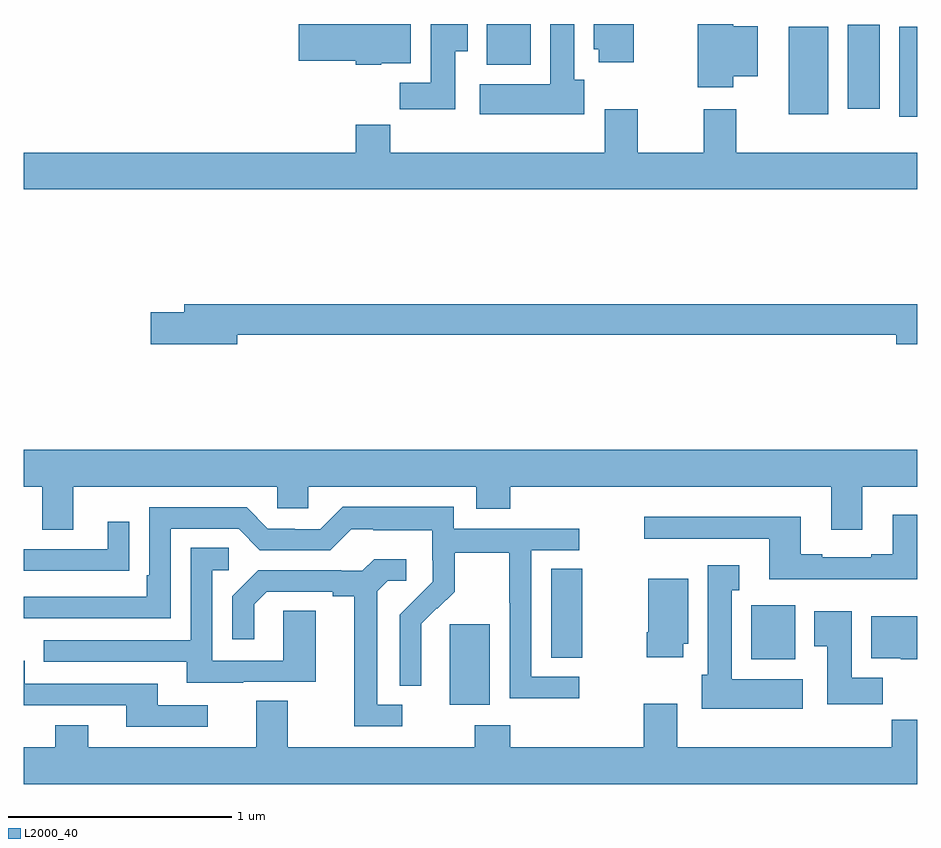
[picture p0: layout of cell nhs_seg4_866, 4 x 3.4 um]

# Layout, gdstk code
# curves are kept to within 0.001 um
import gdstk
lib = gdstk.Library(unit=1e-6, precision=1e-09)
def R(c, l, rs):  # rectangles x0, y0, x1, y1
    for r in rs: c.add(gdstk.rectangle(r[:2], r[2:], *l))
def P(c, l, *ps):  # polygons
    for p in ps: c.add(gdstk.Polygon(p, *l))
L2000_40 = (2000, 40)

nhs_seg4_866 = lib.new_cell('nhs_seg4_866')
R(nhs_seg4_866, L2000_40, [(156.908,787.85,157.087,788.211), (158.258,788.054,158.455,788.296), (157.361,788.062,157.5,788.459), (158.921,790.484,159,790.888), (158.426,790.496,158.602,790.888), (158.69,790.521,158.833,790.897), (157.073,790.718,157.27,790.9)])
P(nhs_seg4_866, L2000_40, [(157.51,790.65),(157.465,790.65),(157.465,790.9),(157.358,790.9),(157.358,790.63),(157.041,790.63),(157.041,790.496),(157.51,790.496)],
  [(158.176,790.667),(158.287,790.667),(158.287,790.891),(158.176,790.891),(158.176,790.9),(158.018,790.9),(158.018,790.617),(158.176,790.617)],
  [(156.931,790.777),(156.988,790.777),(156.988,790.9),(156.821,790.9),(156.821,790.636),(156.682,790.636),(156.682,790.518),(156.931,790.518)],
  [(156.6,790.724),(156.733,790.724),(156.733,790.9),(156.23,790.9),(156.23,790.736),(156.486,790.736),(156.486,790.718),(156.6,790.718)],
  [(157.732,790.9),(157.553,790.9),(157.553,790.788),(157.574,790.788),(157.574,790.728),(157.732,790.728)],
  [(159,790.324),(158.191,790.324),(158.191,790.519),(158.044,790.519),(158.044,790.324),(157.749,790.324),(157.749,790.519),(157.601,790.519),(157.601,790.324),(156.641,790.324),(156.641,790.448),(156.485,790.448),(156.485,790.324),(155,790.324),(155,790.16),(159,790.16)],
  [(155.956,789.508),(158.906,789.508),(158.906,789.466),(159,789.466),(159,789.644),(155.717,789.644),(155.717,789.608),(155.568,789.608),(155.568,789.466),(155.956,789.466)],
  [(155,788.828),(155.081,788.828),(155.081,788.634),(155.221,788.634),(155.221,788.828),(156.135,788.828),(156.135,788.73),(156.273,788.73),(156.273,788.828),(157.025,788.828),(157.025,788.729),(157.178,788.729),(157.178,788.828),(158.615,788.828),(158.615,788.634),(158.755,788.634),(158.755,788.828),(159,788.828),(159,788.992),(155,788.992)],
  [(157.486,787.977),(157.272,787.977),(157.272,788.544),(157.486,788.544),(157.486,788.64),(156.924,788.64),(156.924,788.737),(156.427,788.737),(156.327,788.637),(156.212,788.637),(156.212,788.64),(156.093,788.64),(155.997,788.736),(155.562,788.736),(155.562,788.431),(155.549,788.431),(155.549,788.334),(155,788.334),(155,788.238),(155.658,788.238),(155.658,788.64),(155.961,788.64),(156.057,788.544),(156.372,788.544),(156.465,788.637),(156.565,788.637),(156.565,788.633),(156.828,788.633),(156.828,788.499),(156.83,788.499),(156.83,788.402),(156.684,788.254),(156.684,787.936),(156.78,787.936),(156.779,788.213),(156.849,788.283),(156.852,788.28),(156.929,788.357),(156.929,788.532),(157.174,788.532),(157.174,788.308),(157.176,788.308),(157.176,787.879),(157.486,787.879)],
  [(159,788.701),(158.891,788.701),(158.891,788.524),(158.795,788.524),(158.795,788.511),(158.575,788.511),(158.575,788.524),(158.479,788.524),(158.479,788.692),(157.779,788.692),(157.779,788.595),(158.339,788.595),(158.339,788.414),(159,788.414)],
  [(155.369,788.452),(155.471,788.452),(155.471,788.671),(155.375,788.671),(155.375,788.547),(155,788.547),(155,788.451),(155.369,788.451)],
  [(155.983,787.953),(156.307,787.953),(156.307,788.273),(156.162,788.273),(156.162,788.049),(155.844,788.049),(155.844,788.454),(155.917,788.454),(155.917,788.555),(155.748,788.555),(155.748,788.139),(155.089,788.139),(155.089,788.043),(155.729,788.043),(155.729,787.949),(155.983,787.949)],
  [(156.694,787.851),(156.583,787.851),(156.583,788.359),(156.63,788.406),(156.712,788.406),(156.712,788.503),(156.568,788.503),(156.516,788.451),(156.422,788.451),(156.422,788.454),(156.05,788.454),(155.934,788.338),(155.934,788.145),(156.031,788.145),(156.031,788.301),(156.088,788.358),(156.383,788.358),(156.383,788.336),(156.479,788.336),(156.479,787.755),(156.694,787.755)],
  [(158.488,787.966),(158.17,787.966),(158.17,788.363),(158.203,788.363),(158.203,788.476),(158.063,788.476),(158.063,787.986),(158.036,787.986),(158.036,787.832),(158.488,787.832)],
  [(157.954,788.124),(157.975,788.124),(157.975,788.416),(157.796,788.416),(157.796,788.176),(157.789,788.176),(157.789,788.064),(157.954,788.064)],
  [(158.846,787.972),(158.707,787.972),(158.707,788.269),(158.54,788.269),(158.54,788.113),(158.597,788.113),(158.597,787.854),(158.846,787.854)],
  [(159,788.248),(158.795,788.248),(158.795,788.06),(158.928,788.06),(158.928,788.054),(159,788.054)],
  [(155.824,787.848),(155.599,787.848),(155.599,787.944),(155.004,787.944),(155.004,788.047),(155,788.047),(155,787.848),(155.459,787.848),(155.459,787.752),(155.824,787.752)],
  [(159,787.784),(158.887,787.784),(158.887,787.66),(157.927,787.66),(157.927,787.855),(157.775,787.855),(157.775,787.66),(157.178,787.66),(157.178,787.759),(157.018,787.759),(157.018,787.66),(156.181,787.66),(156.181,787.868),(156.041,787.868),(156.041,787.66),(155.287,787.66),(155.287,787.759),(155.14,787.759),(155.14,787.66),(155,787.66),(155,787.496),(159,787.496)])

lib.write_gds('nhs_seg4_866.gds')
